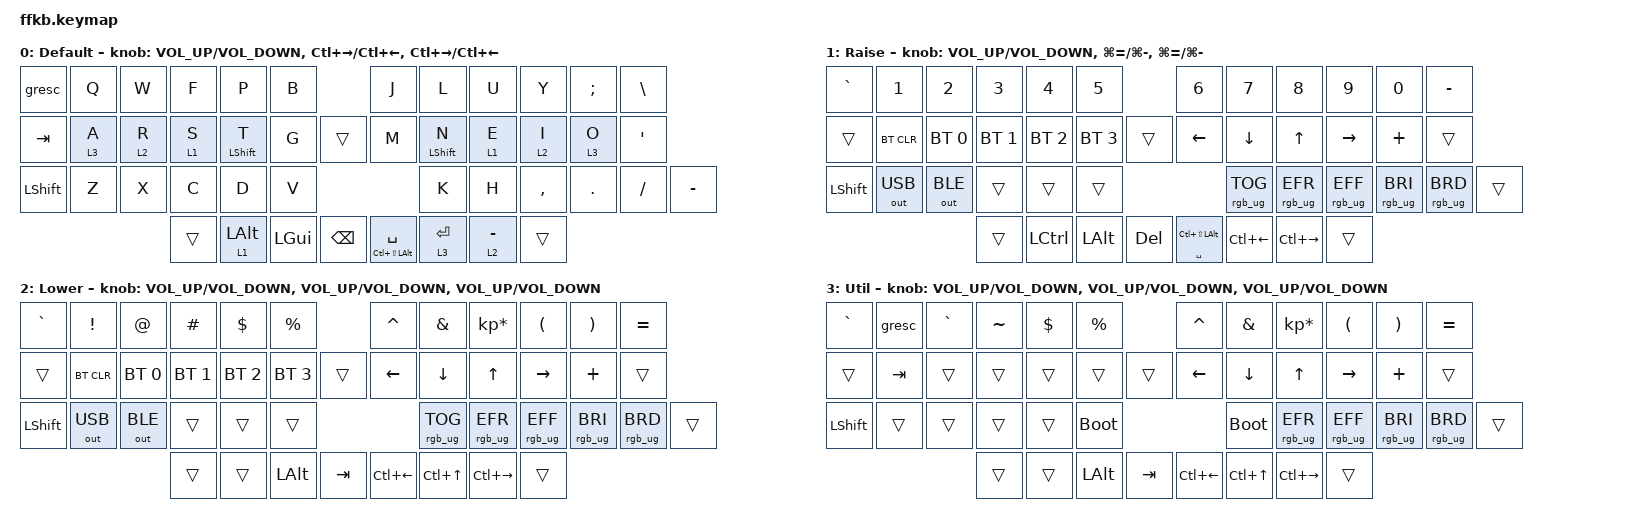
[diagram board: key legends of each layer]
#include <behaviors.dtsi>
#include <dt-bindings/zmk/keys.h>
#include <dt-bindings/zmk/rgb.h>
#include <dt-bindings/zmk/bt.h>
#include <dt-bindings/zmk/ext_power.h>
#include <dt-bindings/zmk/outputs.h>

#define DEFAULT 0
#define LOWER     1
#define RAISE     2
#define OTHER     3


#define TAPPING_TERM 250
#define QUICK_TAP    150

&lt {
	flavor = "tap-preferred";
	tapping-term-ms = <TAPPING_TERM>;
};

&mt {
	flavor = "tap-preferred";
	tapping-term-ms = <TAPPING_TERM>;
};
&caps_word {
    continue-list = <UNDERSCORE MINUS>;
};

/ {
    combos {
        compatible = "zmk,combos";
        combo_undo {
            timeout-ms = <50>;
            key-positions = <26 27>;
            bindings = <&kp LC(Z)>;
        };

        combo_q {
            timeout-ms = <50>;
            key-positions = <27 28>;
            bindings = <&kp Q>;
        };
        combo_semicolon {
            timeout-ms = <50>;
            key-positions = <33 34>;
            bindings = <&kp SEMI>;
        };
    };
};

/ {

    sensors {
        compatible = "zmk,keymap-sensors";
        sensors = <&encoder_1 &encoder_2 &encoder_3>;
    };

    behaviors {
        hm: layer_mods {
            compatible = "tap-preferred";
            label = "LAYER_MODS";
            #binding-cells = <2>;
            tapping-term-ms = <200>;
            quick_tap_ms = <0>;
            flavor = "balanced";
            bindings = <&kp>, <&kp>;
        };
        hs: homerow_shift {
            compatible = "zmk,behavior-hold-tap";
            label = "HOMEROW_SHIFT";
            #binding-cells = <2>;
            tapping-term-ms = <175>;
            quick_tap_ms = <0>;
            flavor = "tap-preferred";
            bindings = <&kp>, <&kp>;
        };
    };

    keymap {
        compatible = "zmk,keymap";

        default_layer {
            label = "Default";

            sensor-bindings = <&inc_dec_kp C_VOLUME_UP C_VOLUME_DOWN &inc_dec_kp LC(RIGHT)  LC(LEFT) &inc_dec_kp LC(RIGHT)  LC(LEFT) >;

            bindings = <
    &gresc     &kp Q        &kp W        &kp F       &kp P         &kp B                              &kp J        &kp L     &kp U       &kp Y         &kp SEMI       &kp BSLH
    &kp TAB  &lt 3 A        &lt 2 R        &lt 1 S      &hs LSHIFT T         &kp G                &trans        &kp M        &hs LSHIFT N     &lt 1 E       &lt 2 I         &lt 3 O    &kp SQT
    &kp LSHIFT &kp Z        &kp X        &kp C       &kp D         &kp V                              &kp K        &kp H     &kp COMMA   &kp DOT       &kp FSLH    &kp MINUS 
                            &trans      &lt 1 LALT    &kp LGUI  &kp BACKSPACE                          &mt LC(LS(LALT)) SPACE &lt 3 ENTER  &lt 2 MINUS     &trans
            >;
        };

        raise_layer {
            label = "Raise";

            sensor-bindings = <&inc_dec_kp C_VOLUME_UP C_VOLUME_DOWN &inc_dec_kp LG(EQUAL) LG(MINUS) &inc_dec_kp LG(EQUAL) LG(MINUS)>;

            bindings = <
    &kp GRAVE   &kp N1       &kp N2       &kp N3      &kp N4        &kp N5                                      &kp N6          &kp N7           &kp N8        &kp N9      &kp N0      &kp MINUS
    &trans     &bt BT_CLR    &bt BT_SEL 0 &bt BT_SEL 1 &bt BT_SEL 2 &bt BT_SEL 3               &trans           &kp LEFT        &kp DOWN         &kp UP        &kp RIGHT   &kp PLUS    &trans
    &kp LSHIFT &out OUT_USB  &out OUT_BLE       &trans      &trans        &trans                                &rgb_ug RGB_TOG &rgb_ug RGB_EFR  &rgb_ug RGB_EFF &rgb_ug RGB_BRI &rgb_ug RGB_BRD     &trans
                                        &trans      &kp LCTL  &kp LALT  &kp DELETE      &mt SPACE LC(LS(LALT))   &kp LC(LEFT)    &kp LC(RIGHT)      &trans
            >;
        };
        lower_layer {
            label = "Lower  ";

            sensor-bindings = <&inc_dec_kp C_VOLUME_UP C_VOLUME_DOWN &inc_dec_kp C_VOLUME_UP C_VOLUME_DOWN &inc_dec_kp C_VOLUME_UP C_VOLUME_DOWN>;

            bindings = <
    &kp GRAVE   &kp EXCL &kp AT &kp HASH &kp DOLLAR &kp PRCNT                                      &kp CARET &kp AMPS  &kp KP_MULTIPLY &kp LPAR  &kp RPAR    &kp EQUAL
    &trans     &bt BT_CLR    &bt BT_SEL 0 &bt BT_SEL 1 &bt BT_SEL 2 &bt BT_SEL 3               &trans           &kp LEFT        &kp DOWN         &kp UP        &kp RIGHT   &kp PLUS    &trans
    &kp LSHIFT &out OUT_USB  &out OUT_BLE       &trans      &trans        &trans                                &rgb_ug RGB_TOG &rgb_ug RGB_EFR  &rgb_ug RGB_EFF &rgb_ug RGB_BRI &rgb_ug RGB_BRD     &trans
                                        &trans      &trans        &kp LALT      &kp TAB        &kp LC(LEFT)   &kp LC(UP)    &kp LC(RIGHT)      &trans
            >;
        };
    util_layer {
            label = "Util";

            sensor-bindings = <&inc_dec_kp C_VOLUME_UP C_VOLUME_DOWN &inc_dec_kp C_VOLUME_UP C_VOLUME_DOWN &inc_dec_kp C_VOLUME_UP C_VOLUME_DOWN>;

            bindings = <
    &kp GRAVE   &gresc &kp GRAVE &kp TILDE &kp DOLLAR &kp PRCNT                                      &kp CARET &kp AMPS  &kp KP_MULTIPLY &kp LPAR  &kp RPAR    &kp EQUAL
    &trans     &kp TAB    &trans  &trans  &trans  &trans               &trans           &kp LEFT        &kp DOWN         &kp UP        &kp RIGHT   &kp PLUS    &trans
    &kp LSHIFT &trans   &trans       &trans      &trans       &bootloader                                &bootloader &rgb_ug RGB_EFR  &rgb_ug RGB_EFF &rgb_ug RGB_BRI &rgb_ug RGB_BRD     &trans
                                        &trans      &trans        &kp LALT      &kp TAB        &kp LC(LEFT)   &kp LC(UP)    &kp LC(RIGHT)      &trans
            >;
        };
    };
};
